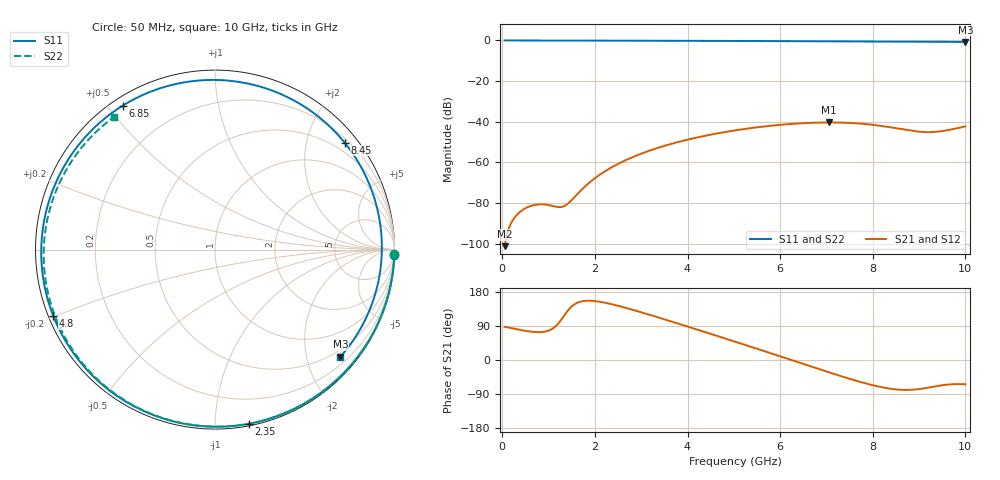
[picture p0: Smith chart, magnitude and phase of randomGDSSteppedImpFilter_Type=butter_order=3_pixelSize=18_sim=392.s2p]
! freq	dB(S11)	phase(S11)	dB(S12)	phase(S12)
!  dB(S21)	phase(S21)	dB(S22)	phase(S22)
!S-par simulation data
#  GHz  S  DB  R 50
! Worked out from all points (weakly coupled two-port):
!   200 points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, 50 MHz to 10 GHz, reference 50 ohm
!   highest |S21| = -40.32 dB at 7.05 GHz (marker M1); lowest = -101.1 dB at 50 MHz (marker M2)
!   lowest |S11| = -0.7 dB at 10 GHz (marker M3), VSWR 23.70, Z = 17.4 - j133 ohm
!   |S11| at or under -10 dB: nowhere
!   |S22| runs from -0.6 to 0.0 dB; largest |S21 - S12| = 0
!   S11 on the Smith chart (normalised r, x): 50 MHz: 1, -65; 2.35 GHz: 0.01, -1.21; 4.8 GHz: 0.01, -0.20; 6.85 GHz: 0.03, +0.55; 8.45 GHz: 0.28, +2.76; 10 GHz: 0.35, -2.67
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0.05  -0.00 -1.8  -101.14 87.6  -101.14 87.6  -0.00 -1.3
0.7  -0.03 -24.2  -80.87 73.8  -80.87 73.8  -0.02 -17.7
1.4  -0.06 -47.8  -80.56 128.0  -80.56 128.0  -0.04 -35.1
1.75  -0.08 -59.4  -72.57 155.5  -72.57 155.5  -0.06 -43.7
2.35  -0.10 -79.0  -62.52 147.6  -62.52 147.6  -0.07 -58.0
2.85  -0.12 -95.0  -57.02 131.3  -57.02 131.3  -0.09 -69.7
3.4  -0.15 -112.4  -52.52 111.1  -52.52 111.1  -0.11 -82.2
4.05  -0.18 -133.1  -48.51 86.4  -48.51 86.4  -0.13 -96.6
4.8  -0.23 -157.6  -45.06 57.3  -45.06 57.3  -0.17 -112.7
5.05  -0.25 -166.2  -44.13 47.5  -44.13 47.5  -0.18 -118.0
5.9  -0.32 162.8  -41.70 13.8  -41.70 13.8  -0.23 -136.0
6.7  -0.41 129.5  -40.47 -18.4  -40.47 -18.4  -0.29 -152.9
6.85  -0.42 122.6  -40.37 -24.4  -40.37 -24.4  -0.30 -156.1
7.05  -0.44 113.2  -40.32 -32.3  -40.32 -32.3  -0.32 -160.4
7.7  -0.51 80.4  -40.82 -56.8  -40.82 -56.8  -0.38 -174.8
8  -0.53 64.3  -41.47 -66.6  -41.47 -66.6  -0.41 178.4
8.35  -0.56 45.0  -42.57 -75.2  -42.57 -75.2  -0.45 170.2
8.45  -0.57 39.5  -42.94 -76.9  -42.94 -76.9  -0.46 167.8
8.85  -0.60 17.5  -44.44 -78.5  -44.44 -78.5  -0.51 158.0
9.2  -0.64 -1.2  -45.07 -72.9  -45.07 -72.9  -0.55 149.1
9.55  -0.67 -19.1  -44.37 -65.8  -44.37 -65.8  -0.59 139.8
10  -0.73 -40.5  -42.24 -64.1  -42.24 -64.1  -0.64 127.3
